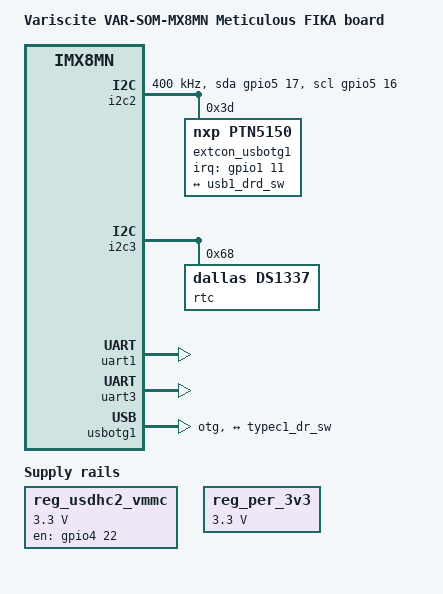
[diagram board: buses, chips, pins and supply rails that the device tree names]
// SPDX-License-Identifier: (GPL-2.0+ OR MIT)
/*
 * Supports Symphony evaluation board versions >= 1.4a.
 *
 * Copyright 2019-2020 Variscite Ltd.
 * Copyright (C) 2020 Krzysztof Kozlowski <krzk@kernel.org>
 */

/dts-v1/;

#include <dt-bindings/usb/pd.h>
#include "imx8mn-var-som.dtsi"

/ {
	model = "Variscite VAR-SOM-MX8MN Meticulous FIKA board";
	compatible = "meticulous,fika-var-mx8mn", "variscite,var-som-mx8mn-meticulous", "variscite,var-som-mx8mn", "fsl,imx8mn";

	reg_usdhc2_vmmc: regulator-usdhc2-vmmc {
		compatible = "regulator-fixed";
		pinctrl-names = "default";
		pinctrl-0 = <&pinctrl_reg_usdhc2_vmmc>;
		regulator-name = "VSD_3V3";
		regulator-min-microvolt = <3300000>;
		regulator-max-microvolt = <3300000>;
		gpio = <&gpio4 22 GPIO_ACTIVE_HIGH>;
		enable-active-high;
	};

	/* Peripherals supply, enabled by Q2 after SOM_3V3 rises. */
	reg_per_3v3: regulator-peripheral-3v3 {
		compatible = "regulator-fixed";
		regulator-name = "per_3v3";
		regulator-min-microvolt = <3300000>;
		regulator-max-microvolt = <3300000>;
		regulator-always-on;
	};
};

&ethphy {
	status = "disabled";
};

&i2c2 {
	clock-frequency = <400000>;
	pinctrl-names = "default", "gpio";
	pinctrl-0 = <&pinctrl_i2c2>;
	pinctrl-1 = <&pinctrl_i2c2_gpio>;
	scl-gpios = <&gpio5 16 GPIO_ACTIVE_HIGH>;
	sda-gpios = <&gpio5 17 GPIO_ACTIVE_HIGH>;
	status = "okay";

	// We have the ID pin connected, not the IRQ pin as some older symphony boards
	extcon_usbotg1: typec@3d {
		compatible = "nxp,ptn5150";
		reg = <0x3d>;
		interrupt-parent = <&gpio1>;
		interrupts = <11 IRQ_TYPE_NONE>;
		irq-is-id-quirk;
		pinctrl-names = "default";
		pinctrl-0 = <&pinctrl_ptn5150>;

		port {
			typec1_dr_sw: endpoint {
				remote-endpoint = <&usb1_drd_sw>;
			};
		};
	};
};

&i2c3 {
	rtc@68 {
		compatible = "dallas,ds1337";
		reg = <0x68>;
	};
};

&uart1 {
	pinctrl-names = "default";
	pinctrl-0 = <&pinctrl_uart1>;
	status = "okay";
};

&uart3 {
	pinctrl-names = "default";
	pinctrl-0 = <&pinctrl_uart3>;
	status = "okay";
};

&usbotg1 {
	dr_mode = "otg";
	hnp-disable;
	srp-disable;
	adp-disable;
	usb-role-switch;
	disable-over-current;
	samsung,picophy-pre-emp-curr-control = <3>;
	samsung,picophy-dc-vol-level-adjust = <7>;
	status = "okay";

	port {
		usb1_drd_sw: endpoint {
			remote-endpoint = <&typec1_dr_sw>;
		};
	};
};

&iomuxc {
	pinctrl_i2c2: i2c2grp {
		fsl,pins = <
			MX8MN_IOMUXC_I2C2_SCL_I2C2_SCL		0x400001c3
			MX8MN_IOMUXC_I2C2_SDA_I2C2_SDA		0x400001c3
		>;
	};

	pinctrl_i2c2_gpio: i2c2gpiogrp {
		fsl,pins = <
			MX8MN_IOMUXC_I2C2_SCL_GPIO5_IO16	0x1c3
			MX8MN_IOMUXC_I2C2_SDA_GPIO5_IO17	0x1c3
		>;
	};

	pinctrl_ptn5150: ptn5150grp {
		fsl,pins = <
			MX8MN_IOMUXC_GPIO1_IO11_GPIO1_IO11	0x16
		>;
	};
	pinctrl_reg_usdhc2_vmmc: regusdhc2vmmcgrp {
		fsl,pins = <
			MX8MN_IOMUXC_SAI2_RXC_GPIO4_IO22	0x41
		>;
	};

	pinctrl_uart1: uart1grp {
		fsl,pins = <
			MX8MN_IOMUXC_UART1_RXD_UART1_DCE_RX	0x140
			MX8MN_IOMUXC_UART1_TXD_UART1_DCE_TX	0x140
		>;
	};

	pinctrl_uart3: uart3grp {
		fsl,pins = <
			MX8MN_IOMUXC_UART3_RXD_UART3_DCE_RX	0x140
			MX8MN_IOMUXC_UART3_TXD_UART3_DCE_TX	0x140
		>;
	};
};

&fec1 {
	status = "disabled";
};
&ecspi1  {
	touchscreen@0 {
		status = "disabled";
	};
};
